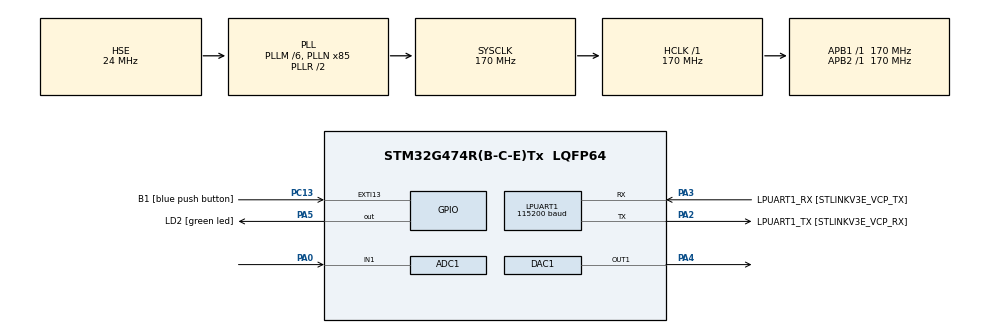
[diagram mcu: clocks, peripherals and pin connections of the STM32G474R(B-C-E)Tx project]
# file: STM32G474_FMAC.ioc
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Mcu.Family=STM32G4
Dma.DAC1_CH1.1.SyncPolarity=HAL_DMAMUX_SYNC_NO_EVENT
RCC.CortexFreq_Value=170000000
ADC1.Overrun=ADC_OVR_DATA_OVERWRITTEN
VP_FMAC_VS_FMAC.Mode=FMAC_Activate
Dma.ADC1.0.Polarity=HAL_DMAMUX_REQ_GEN_RISING
Dma.FMAC_READ.2.SyncPolarity=HAL_DMAMUX_SYNC_NO_EVENT
PA14.GPIO_Label=T_SWCLK
DAC1.DAC_Trigger_OUT1-DAC_OUT1=DAC_TRIGGER_T3_TRGO
Dma.FMAC_READ.2.Direction=DMA_PERIPH_TO_MEMORY
LPUART1.WordLength=UART_WORDLENGTH_8B
Dma.DAC1_CH1.1.MemDataAlignment=DMA_MDATAALIGN_HALFWORD
PC13.GPIO_Label=B1 [blue push button]
RCC.SYSCLKSource=RCC_SYSCLKSOURCE_PLLCLK
ProjectManager.StackSize=0x400
NVIC.DMA1_Channel3_IRQn=true\:0\:0\:false\:false\:true\:false\:true
RCC.HCLKFreq_Value=170000000
RCC.APB2TimFreq_Value=170000000
Dma.ADC1.0.Direction=DMA_PERIPH_TO_MEMORY
Dma.DAC1_CH1.1.Polarity=HAL_DMAMUX_REQ_GEN_RISING
Dma.ADC1.0.MemDataAlignment=DMA_MDATAALIGN_WORD
RCC.AHBFreq_Value=170000000
NVIC.EXTI15_10_IRQn=true\:0\:0\:false\:false\:true\:true\:true
ADC1.Channel-0\#ChannelRegularConversion=ADC_CHANNEL_1
RCC.HSE_VALUE=24000000
RCC.ADC12Freq_Value=170000000
RCC.RTCClockSelection=RCC_RTCCLKSOURCE_LSE
PC14-OSC32_IN.Mode=LSE-External-Oscillator
PA14.Mode=Serial_Wire
TIM3.Prescaler=1
Dma.ADC1.0.PeriphInc=DMA_PINC_DISABLE
PA0.Mode=IN1-Single-Ended
VP_SYS_VS_DBSignals.Mode=DisableDeadBatterySignals
Dma.DAC1_CH1.1.EventEnable=DISABLE
Dma.DAC1_CH1.1.SyncEnable=DISABLE
Dma.DAC1_CH1.1.Mode=DMA_CIRCULAR
ADC1.SamplingTime-0\#ChannelRegularConversion=ADC_SAMPLETIME_2CYCLES_5
Dma.FMAC_READ.2.PeriphInc=DMA_PINC_DISABLE
PA0.Signal=ADC1_IN1
Mcu.Package=LQFP64
Dma.FMAC_READ.2.Polarity=HAL_DMAMUX_REQ_GEN_RISING
PA2.GPIO_Label=LPUART1_TX [STLINKV3E_VCP_RX]
Dma.FMAC_READ.2.Mode=DMA_CIRCULAR
TIM3.PeriodNoDither=849
Dma.Request2=FMAC_READ
Dma.Request1=DAC1_CH1
Dma.FMAC_READ.2.RequestNumber=1
RCC.APB1TimFreq_Value=170000000
Dma.DAC1_CH1.1.MemInc=DMA_MINC_ENABLE
Dma.DAC1_CH1.1.SignalID=NONE
PF1-OSC_OUT.Mode=HSE-External-Oscillator
Dma.Request0=ADC1
VP_TIM3_VS_ClockSourceINT.Mode=Internal
PF1-OSC_OUT.Signal=RCC_OSC_OUT
Dma.ADC1.0.EventEnable=DISABLE
RCC.HSI48_VALUE=48000000
PA3.Signal=LPUART1_RX
PB3.GPIO_Label=T_SWO
RCC.PLLSourceVirtual=RCC_PLLSOURCE_HSE
PC15-OSC32_OUT.Mode=LSE-External-Oscillator
Dma.DAC1_CH1.1.PeriphInc=DMA_PINC_DISABLE
Dma.ADC1.0.Instance=DMA1_Channel1
ADC1.Rank-0\#ChannelRegularConversion=1
Dma.ADC1.0.SyncRequestNumber=1
ADC1.OffsetNumber-0\#ChannelRegularConversion=ADC_OFFSET_NONE
PC13.Signal=GPXTI13
RCC.EXTERNAL_CLOCK_VALUE=12288000
Dma.FMAC_READ.2.MemInc=DMA_MINC_ENABLE
PC14-OSC32_IN.Signal=RCC_OSC32_IN
Dma.FMAC_READ.2.MemDataAlignment=DMA_MDATAALIGN_HALFWORD
Dma.DAC1_CH1.1.Instance=DMA1_Channel2
Dma.FMAC_READ.2.SyncEnable=DISABLE
Dma.DAC1_CH1.1.Priority=DMA_PRIORITY_LOW
Dma.DAC1_CH1.1.SyncRequestNumber=1
PA13.Signal=SYS_JTMS-SWDIO
PA3.Mode=Asynchronous
Dma.ADC1.0.PeriphDataAlignment=DMA_PDATAALIGN_WORD
NVIC.DMA1_Channel2_IRQn=true\:0\:0\:false\:false\:true\:false\:true
ProjectManager.TargetToolchain=STM32CubeIDE
Dma.ADC1.0.Mode=DMA_CIRCULAR
SH.COMP_DAC11_group.0=DAC1_OUT1,DAC_OUT1
Dma.ADC1.0.SignalID=NONE
Dma.ADC1.0.SyncSignalID=NONE
Dma.ADC1.0.Priority=DMA_PRIORITY_LOW
Dma.FMAC_READ.2.SyncRequestNumber=1
RCC.USBFreq_Value=170000000
PC15-OSC32_OUT.Signal=RCC_OSC32_OUT
Dma.DAC1_CH1.1.SyncSignalID=NONE
PF0-OSC_IN.Mode=HSE-External-Oscillator
PA5.Signal=GPIO_Output
board=NUCLEO-G474RE
Dma.FMAC_READ.2.PeriphDataAlignment=DMA_PDATAALIGN_WORD
RCC.VCOOutputFreq_Value=340000000
Dma.ADC1.0.SyncPolarity=HAL_DMAMUX_SYNC_NO_EVENT
Dma.FMAC_READ.2.Instance=DMA1_Channel3
RCC.ADC345Freq_Value=170000000
RCC.APB2Freq_Value=170000000
Dma.DAC1_CH1.1.Direction=DMA_MEMORY_TO_PERIPH
ADC1.DMAContinuousRequests=ENABLE
PA13.Mode=Serial_Wire
Mcu.Name=STM32G474R(B-C-E)Tx
LPUART1.BaudRate=115200
PA13.GPIO_Label=T_SWDIO
PA2.Signal=LPUART1_TX
ADC1.ExternalTrigConv=ADC_EXTERNALTRIG_T3_TRGO
PB3.Signal=SYS_JTDO-SWO
PA4.Signal=COMP_DAC11_group
RCC.SYSCLKFreq_VALUE=170000000
Dma.DAC1_CH1.1.PeriphDataAlignment=DMA_PDATAALIGN_WORD
ADC1.master=1
PA5.GPIO_Label=LD2 [green led]
Dma.FMAC_READ.2.SignalID=NONE
Dma.ADC1.0.RequestNumber=1
Dma.ADC1.0.SyncEnable=DISABLE
PA14.Signal=SYS_JTCK-SWCLK
Dma.ADC1.0.MemInc=DMA_MINC_ENABLE
ProjectManager.HeapSize=0x200
Dma.FMAC_READ.2.EventEnable=DISABLE
RCC.HSI_VALUE=16000000
Dma.DAC1_CH1.1.RequestNumber=1
Dma.FMAC_READ.2.SyncSignalID=NONE
NVIC.PriorityGroup=NVIC_PRIORITYGROUP_4
ADC1.NbrOfConversionFlag=1
RCC.PLLM=RCC_PLLM_DIV6
RCC.PLLN=85
PA2.Mode=Asynchronous
NVIC.DMA1_Channel1_IRQn=true\:0\:0\:false\:false\:true\:false\:true
PF0-OSC_IN.Signal=RCC_OSC_IN
TIM3.TIM_MasterOutputTrigger=TIM_TRGO_UPDATE
Dma.FMAC_READ.2.Priority=DMA_PRIORITY_LOW
RCC.APB1Freq_Value=170000000
PA3.GPIO_Label=LPUART1_RX [STLINKV3E_VCP_TX]

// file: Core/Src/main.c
/* USER CODE BEGIN Header */
/**
  ******************************************************************************
  * @file           : main.c
  * @brief          : Main program body
  ******************************************************************************
  * @attention
  *
  * <h2><center>&copy; Copyright (c) 2021 STMicroelectronics.
  * All rights reserved.</center></h2>
  *
  * This software component is licensed by ST under BSD 3-Clause license,
  * the "License"; You may not use this file except in compliance with the
  * License. You may obtain a copy of the License at:
  *                        opensource.org/licenses/BSD-3-Clause
  *
  ******************************************************************************
  */
/* USER CODE END Header */
#include "main.h"

/* USER CODE BEGIN PD */

#define FILTER_OUT_BUFFER_SIZE 1
#define FILTER_IN_BUFFER_SIZE 1
#define FILTER_TAP 127

/* USER CODE END PD */

ADC_HandleTypeDef hadc1;
DMA_HandleTypeDef hdma_adc1;
DAC_HandleTypeDef hdac1;
DMA_HandleTypeDef hdma_dac1_ch1;
FMAC_HandleTypeDef hfmac;
DMA_HandleTypeDef hdma_fmac_read;
UART_HandleTypeDef hlpuart1;
TIM_HandleTypeDef htim3;

/* USER CODE BEGIN PV */

uint16_t ADC_data[FILTER_IN_BUFFER_SIZE];  // Данные с АЦП
uint16_t FMAC_out[FILTER_OUT_BUFFER_SIZE]; // Данные на выходе фильтра

static int16_t FilterCoeffB[127] =
{-10,-10,-10,-9,-9,-9,-8,-8,-7,-6,-5,-4,-2,0,3,6,10,14,19,25,32,40,48,57,68,79,
91,104,118,134,150,166,184,203,222,242,263,284,306,328,350,373,396,418,441,463,
485,506,527,547,566,585,602,618,633,646,659,669,679,686,692,696,699,700,699,696,
692,686,679,669,659,646,633,618,602,585,566,547,527,506,485,463,441,418,396,373,
350,328,306,284,263,242,222,203,184,166,150,134,118,104,91,79,68,57,48,40,32,25,
19,14,10,6,3,0,-2,-4,-5,-6,-7,-8,-8,-9,-9,-9,-10,-10,-10};

/* USER CODE END PV */

void SystemClock_Config(void);
static void MX_GPIO_Init(void);
static void MX_DMA_Init(void);
static void MX_LPUART1_UART_Init(void);
static void MX_ADC1_Init(void);
static void MX_DAC1_Init(void);
static void MX_TIM3_Init(void);
static void MX_FMAC_Init(void);

int main(void)
{

  /* MCU Configuration--------------------------------------------------------*/

  /* Reset of all peripherals, Initializes the Flash interface and the Systick. */
  HAL_Init();

  /* Configure the system clock */
  SystemClock_Config();

  /* Initialize all configured peripherals */
  MX_GPIO_Init();
  MX_DMA_Init();
  MX_LPUART1_UART_Init();
  MX_ADC1_Init();
  MX_DAC1_Init();
  MX_TIM3_Init();
  MX_FMAC_Init();
  /* USER CODE BEGIN 2 */

	uint16_t Filter_output_Size = FILTER_OUT_BUFFER_SIZE;
    HAL_FMAC_FilterStart(&hfmac, (int16_t*)&FMAC_out, &Filter_output_Size);										// Запускаем фильтр
    HAL_ADCEx_Calibration_Start(&hadc1, ADC_SINGLE_ENDED);														// Калибруем АЦП
    HAL_ADC_Start_DMA(&hadc1, (uint32_t*)&FMAC->WDATA, FILTER_IN_BUFFER_SIZE);									// Запускаем АЦП с сохранением по DMA по указателю на FMAC->WDATA
    HAL_DAC_Start_DMA(&hdac1, DAC_CHANNEL_1, (uint32_t*)&FMAC_out, FILTER_OUT_BUFFER_SIZE, DAC_ALIGN_12B_R); 	// Выводим входные данные FIR фильтра на ЦАП
    HAL_TIM_Base_Start(&htim3);																					// Запускаем таймер

  /* USER CODE END 2 */

  /* Infinite loop */
  /* USER CODE BEGIN WHILE */
  while (1)
  {
	  HAL_GPIO_WritePin(LD2_GPIO_Port, LD2_Pin, GPIO_PIN_SET);
	  HAL_Delay(200);
	  HAL_GPIO_WritePin(LD2_GPIO_Port, LD2_Pin, GPIO_PIN_RESET);
	  HAL_Delay(200);
    /* USER CODE END WHILE */

  }
}

void SystemClock_Config(void)
{
  RCC_OscInitTypeDef RCC_OscInitStruct = {0};
  RCC_ClkInitTypeDef RCC_ClkInitStruct = {0};
  RCC_PeriphCLKInitTypeDef PeriphClkInit = {0};

  /** Configure the main internal regulator output voltage
  */
  HAL_PWREx_ControlVoltageScaling(PWR_REGULATOR_VOLTAGE_SCALE1_BOOST);
  /** Initializes the RCC Oscillators according to the specified parameters
  * in the RCC_OscInitTypeDef structure.
  */
  RCC_OscInitStruct.OscillatorType = RCC_OSCILLATORTYPE_HSE;
  RCC_OscInitStruct.HSEState = RCC_HSE_ON;
  RCC_OscInitStruct.PLL.PLLState = RCC_PLL_ON;
  RCC_OscInitStruct.PLL.PLLSource = RCC_PLLSOURCE_HSE;
  RCC_OscInitStruct.PLL.PLLM = RCC_PLLM_DIV6;
  RCC_OscInitStruct.PLL.PLLN = 85;
  RCC_OscInitStruct.PLL.PLLP = RCC_PLLP_DIV2;
  RCC_OscInitStruct.PLL.PLLQ = RCC_PLLQ_DIV2;
  RCC_OscInitStruct.PLL.PLLR = RCC_PLLR_DIV2;
  if (HAL_RCC_OscConfig(&RCC_OscInitStruct) != HAL_OK)
  {
    Error_Handler();
  }
  /** Initializes the CPU, AHB and APB buses clocks
  */
  RCC_ClkInitStruct.ClockType = RCC_CLOCKTYPE_HCLK|RCC_CLOCKTYPE_SYSCLK
                              |RCC_CLOCKTYPE_PCLK1|RCC_CLOCKTYPE_PCLK2;
  RCC_ClkInitStruct.SYSCLKSource = RCC_SYSCLKSOURCE_PLLCLK;
  RCC_ClkInitStruct.AHBCLKDivider = RCC_SYSCLK_DIV1;
  RCC_ClkInitStruct.APB1CLKDivider = RCC_HCLK_DIV1;
  RCC_ClkInitStruct.APB2CLKDivider = RCC_HCLK_DIV1;

  if (HAL_RCC_ClockConfig(&RCC_ClkInitStruct, FLASH_LATENCY_4) != HAL_OK)
  {
    Error_Handler();
  }
  /** Initializes the peripherals clocks
  */
  PeriphClkInit.PeriphClockSelection = RCC_PERIPHCLK_LPUART1|RCC_PERIPHCLK_ADC12;
  PeriphClkInit.Lpuart1ClockSelection = RCC_LPUART1CLKSOURCE_PCLK1;
  PeriphClkInit.Adc12ClockSelection = RCC_ADC12CLKSOURCE_SYSCLK;
  if (HAL_RCCEx_PeriphCLKConfig(&PeriphClkInit) != HAL_OK)
  {
    Error_Handler();
  }
}

static void MX_ADC1_Init(void)
{

  ADC_MultiModeTypeDef multimode = {0};
  ADC_ChannelConfTypeDef sConfig = {0};

  /** Common config
  */
  hadc1.Instance = ADC1;
  hadc1.Init.ClockPrescaler = ADC_CLOCK_SYNC_PCLK_DIV4;
  hadc1.Init.Resolution = ADC_RESOLUTION_12B;
  hadc1.Init.DataAlign = ADC_DATAALIGN_RIGHT;
  hadc1.Init.GainCompensation = 0;
  hadc1.Init.ScanConvMode = ADC_SCAN_DISABLE;
  hadc1.Init.EOCSelection = ADC_EOC_SINGLE_CONV;
  hadc1.Init.LowPowerAutoWait = DISABLE;
  hadc1.Init.ContinuousConvMode = DISABLE;
  hadc1.Init.NbrOfConversion = 1;
  hadc1.Init.DiscontinuousConvMode = DISABLE;
  hadc1.Init.ExternalTrigConv = ADC_EXTERNALTRIG_T3_TRGO;
  hadc1.Init.ExternalTrigConvEdge = ADC_EXTERNALTRIGCONVEDGE_RISING;
  hadc1.Init.DMAContinuousRequests = ENABLE;
  hadc1.Init.Overrun = ADC_OVR_DATA_OVERWRITTEN;
  hadc1.Init.OversamplingMode = DISABLE;
  if (HAL_ADC_Init(&hadc1) != HAL_OK)
  {
    Error_Handler();
  }
  /** Configure the ADC multi-mode
  */
  multimode.Mode = ADC_MODE_INDEPENDENT;
  if (HAL_ADCEx_MultiModeConfigChannel(&hadc1, &multimode) != HAL_OK)
  {
    Error_Handler();
  }
  /** Configure Regular Channel
  */
  sConfig.Channel = ADC_CHANNEL_1;
  sConfig.Rank = ADC_REGULAR_RANK_1;
  sConfig.SamplingTime = ADC_SAMPLETIME_2CYCLES_5;
  sConfig.SingleDiff = ADC_SINGLE_ENDED;
  sConfig.OffsetNumber = ADC_OFFSET_NONE;
  sConfig.Offset = 0;
  if (HAL_ADC_ConfigChannel(&hadc1, &sConfig) != HAL_OK)
  {
    Error_Handler();
  }

}

static void MX_DAC1_Init(void)
{

  DAC_ChannelConfTypeDef sConfig = {0};

  /** DAC Initialization
  */
  hdac1.Instance = DAC1;
  if (HAL_DAC_Init(&hdac1) != HAL_OK)
  {
    Error_Handler();
  }
  /** DAC channel OUT1 config
  */
  sConfig.DAC_HighFrequency = DAC_HIGH_FREQUENCY_INTERFACE_MODE_AUTOMATIC;
  sConfig.DAC_DMADoubleDataMode = DISABLE;
  sConfig.DAC_SignedFormat = DISABLE;
  sConfig.DAC_SampleAndHold = DAC_SAMPLEANDHOLD_DISABLE;
  sConfig.DAC_Trigger = DAC_TRIGGER_T3_TRGO;
  sConfig.DAC_Trigger2 = DAC_TRIGGER_NONE;
  sConfig.DAC_OutputBuffer = DAC_OUTPUTBUFFER_ENABLE;
  sConfig.DAC_ConnectOnChipPeripheral = DAC_CHIPCONNECT_EXTERNAL;
  sConfig.DAC_UserTrimming = DAC_TRIMMING_FACTORY;
  if (HAL_DAC_ConfigChannel(&hdac1, &sConfig, DAC_CHANNEL_1) != HAL_OK)
  {
    Error_Handler();
  }

}

static void MX_FMAC_Init(void)
{

  hfmac.Instance = FMAC;
  if (HAL_FMAC_Init(&hfmac) != HAL_OK)
  {
    Error_Handler();
  }
  /* USER CODE BEGIN FMAC_Init 2 */

  FMAC_FilterConfigTypeDef sFmacConfig; 			// declare a filter configuration structure
  sFmacConfig.CoeffBaseAddress = 0; 				// Set the coefficient buffer base address
  sFmacConfig.CoeffBufferSize = FILTER_TAP; 		// Set the coefficient buffer size to the number of coeffs
  sFmacConfig.InputBaseAddress = FILTER_TAP; 		// Set the Input buffer base address to the next free address
  sFmacConfig.InputBufferSize = FILTER_TAP + 1;		// Set the input buffer size greater than the number of coeffs
  sFmacConfig.InputThreshold = 0; 					// Set the input watermark to zero since we are using DMA
  sFmacConfig.OutputBaseAddress = FILTER_TAP*2 + 1; // Set the Output buffer base address to the next free address
  sFmacConfig.OutputBufferSize = FILTER_OUT_BUFFER_SIZE;// Set the output buffer size
  sFmacConfig.OutputThreshold = 0; 					// Set the output watermark to zero since we are using DMA
  sFmacConfig.pCoeffA = NULL; 						// No A coefficients since FIR
  sFmacConfig.CoeffASize = 0;
  sFmacConfig.pCoeffB = FilterCoeffB; 				// Pointer to the coefficients in memory
  sFmacConfig.CoeffBSize = FILTER_TAP; 				// Number of coefficients
  sFmacConfig.Filter = FMAC_FUNC_CONVO_FIR; 		// Select FIR filter function
  sFmacConfig.InputAccess = FMAC_BUFFER_ACCESS_NONE;// Disable DMA input transfer
  sFmacConfig.OutputAccess = FMAC_BUFFER_ACCESS_DMA;// Enable DMA output transfer
  sFmacConfig.Clip = FMAC_CLIP_ENABLED; 			// Enable clipping of the output at 0x7FFF and 0x8000
  sFmacConfig.P = FILTER_TAP; 						// P parameter contains number of coefficients
  sFmacConfig.Q = 0; 								// Q parameter is not used
  sFmacConfig.R = 0;  								// R parameter contains the post-shift value (none)
  if (HAL_FMAC_FilterConfig(&hfmac, &sFmacConfig) != HAL_OK) // Configure the FMAC
  Error_Handler(); 									// Configuration Error

  /* USER CODE END FMAC_Init 2 */

}

static void MX_LPUART1_UART_Init(void)
{

  hlpuart1.Instance = LPUART1;
  hlpuart1.Init.BaudRate = 115200;
  hlpuart1.Init.WordLength = UART_WORDLENGTH_8B;
  hlpuart1.Init.StopBits = UART_STOPBITS_1;
  hlpuart1.Init.Parity = UART_PARITY_NONE;
  hlpuart1.Init.Mode = UART_MODE_TX_RX;
  hlpuart1.Init.HwFlowCtl = UART_HWCONTROL_NONE;
  hlpuart1.Init.OneBitSampling = UART_ONE_BIT_SAMPLE_DISABLE;
  hlpuart1.Init.ClockPrescaler = UART_PRESCALER_DIV1;
  hlpuart1.AdvancedInit.AdvFeatureInit = UART_ADVFEATURE_NO_INIT;
  if (HAL_UART_Init(&hlpuart1) != HAL_OK)
  {
    Error_Handler();
  }
  if (HAL_UARTEx_SetTxFifoThreshold(&hlpuart1, UART_TXFIFO_THRESHOLD_1_8) != HAL_OK)
  {
    Error_Handler();
  }
  if (HAL_UARTEx_SetRxFifoThreshold(&hlpuart1, UART_RXFIFO_THRESHOLD_1_8) != HAL_OK)
  {
    Error_Handler();
  }
  if (HAL_UARTEx_DisableFifoMode(&hlpuart1) != HAL_OK)
  {
    Error_Handler();
  }

}

static void MX_TIM3_Init(void)
{

  TIM_ClockConfigTypeDef sClockSourceConfig = {0};
  TIM_MasterConfigTypeDef sMasterConfig = {0};

  htim3.Instance = TIM3;
  htim3.Init.Prescaler = 1;
  htim3.Init.CounterMode = TIM_COUNTERMODE_UP;
  htim3.Init.Period = 849;
  htim3.Init.ClockDivision = TIM_CLOCKDIVISION_DIV1;
  htim3.Init.AutoReloadPreload = TIM_AUTORELOAD_PRELOAD_DISABLE;
  if (HAL_TIM_Base_Init(&htim3) != HAL_OK)
  {
    Error_Handler();
  }
  sClockSourceConfig.ClockSource = TIM_CLOCKSOURCE_INTERNAL;
  if (HAL_TIM_ConfigClockSource(&htim3, &sClockSourceConfig) != HAL_OK)
  {
    Error_Handler();
  }
  sMasterConfig.MasterOutputTrigger = TIM_TRGO_UPDATE;
  sMasterConfig.MasterSlaveMode = TIM_MASTERSLAVEMODE_DISABLE;
  if (HAL_TIMEx_MasterConfigSynchronization(&htim3, &sMasterConfig) != HAL_OK)
  {
    Error_Handler();
  }

}

static void MX_DMA_Init(void)
{

  /* DMA controller clock enable */
  __HAL_RCC_DMAMUX1_CLK_ENABLE();
  __HAL_RCC_DMA1_CLK_ENABLE();

  /* DMA interrupt init */
  /* DMA1_Channel1_IRQn interrupt configuration */
  HAL_NVIC_SetPriority(DMA1_Channel1_IRQn, 0, 0);
  HAL_NVIC_EnableIRQ(DMA1_Channel1_IRQn);
  /* DMA1_Channel2_IRQn interrupt configuration */
  HAL_NVIC_SetPriority(DMA1_Channel2_IRQn, 0, 0);
  HAL_NVIC_EnableIRQ(DMA1_Channel2_IRQn);
  /* DMA1_Channel3_IRQn interrupt configuration */
  HAL_NVIC_SetPriority(DMA1_Channel3_IRQn, 0, 0);
  HAL_NVIC_EnableIRQ(DMA1_Channel3_IRQn);

}

static void MX_GPIO_Init(void)
{
  GPIO_InitTypeDef GPIO_InitStruct = {0};

  /* GPIO Ports Clock Enable */
  __HAL_RCC_GPIOC_CLK_ENABLE();
  __HAL_RCC_GPIOF_CLK_ENABLE();
  __HAL_RCC_GPIOA_CLK_ENABLE();
  __HAL_RCC_GPIOB_CLK_ENABLE();

  /*Configure GPIO pin Output Level */
  HAL_GPIO_WritePin(LD2_GPIO_Port, LD2_Pin, GPIO_PIN_RESET);

  /*Configure GPIO pin : B1_Pin */
  GPIO_InitStruct.Pin = B1_Pin;
  GPIO_InitStruct.Mode = GPIO_MODE_IT_RISING;
  GPIO_InitStruct.Pull = GPIO_NOPULL;
  HAL_GPIO_Init(B1_GPIO_Port, &GPIO_InitStruct);

  /*Configure GPIO pin : LD2_Pin */
  GPIO_InitStruct.Pin = LD2_Pin;
  GPIO_InitStruct.Mode = GPIO_MODE_OUTPUT_PP;
  GPIO_InitStruct.Pull = GPIO_NOPULL;
  GPIO_InitStruct.Speed = GPIO_SPEED_FREQ_LOW;
  HAL_GPIO_Init(LD2_GPIO_Port, &GPIO_InitStruct);

  /* EXTI interrupt init*/
  HAL_NVIC_SetPriority(EXTI15_10_IRQn, 0, 0);
  HAL_NVIC_EnableIRQ(EXTI15_10_IRQn);

}

void Error_Handler(void)
{
  __disable_irq();
  while (1)
  {
  }
}

/************************ (C) COPYRIGHT STMicroelectronics *****END OF FILE****/
